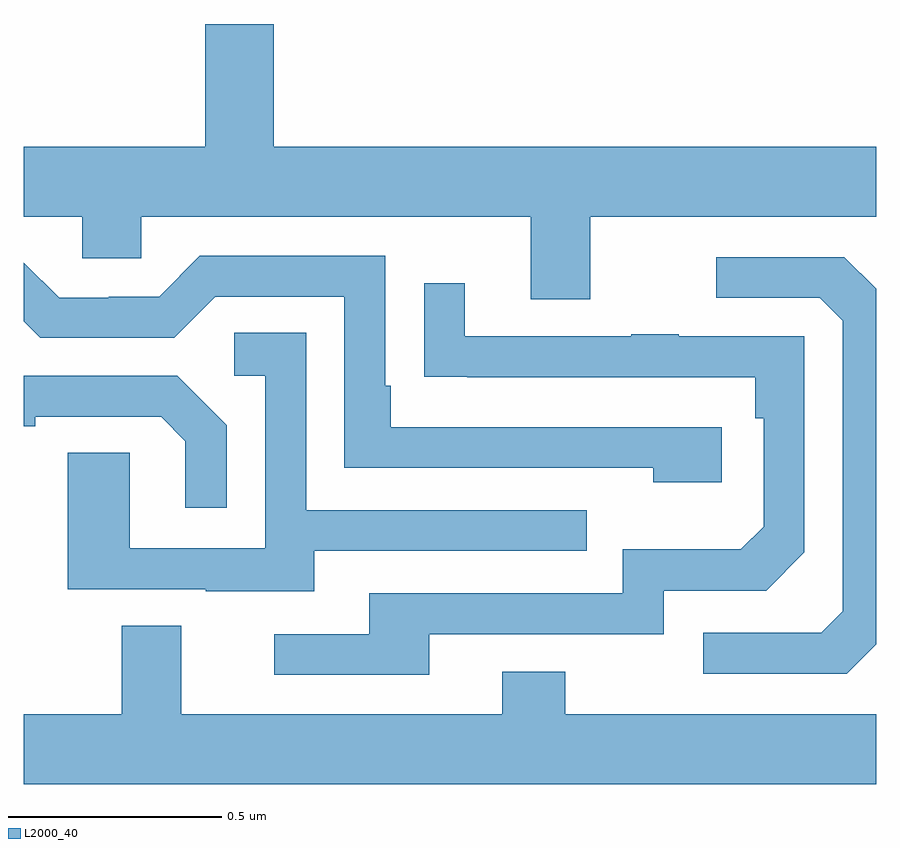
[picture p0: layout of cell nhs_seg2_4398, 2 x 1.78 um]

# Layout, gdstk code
import gdstk
lib = gdstk.Library(unit=1e-6, precision=1e-09)
def P(c, l, *ps):  # polygons
    for p in ps: c.add(gdstk.Polygon(p, *l))
L2000_40 = (2000, 40)

nhs_seg2_4398 = lib.new_cell('nhs_seg2_4398')
P(nhs_seg2_4398, L2000_40, [(167.329,602.348),(168,602.348),(168,602.512),(166.586,602.512),(166.586,602.8),(166.426,602.8),(166.426,602.512),(166,602.512),(166,602.348),(166.137,602.348),(166.137,602.25),(166.275,602.25),(166.275,602.348),(167.189,602.348),(167.189,602.154),(167.329,602.154)],
  [(167.638,601.854),(166.861,601.854),(166.861,601.951),(166.848,601.951),(166.848,602.256),(166.413,602.256),(166.317,602.16),(166.199,602.16),(166.199,602.157),(166.083,602.157),(166,602.24),(166,602.102),(166.038,602.064),(166.353,602.064),(166.449,602.16),(166.752,602.16),(166.752,601.758),(167.477,601.758),(167.477,601.724),(167.638,601.724)],
  [(168,601.344),(168,602.178),(167.925,602.253),(167.625,602.253),(167.625,602.157),(167.868,602.157),(167.922,602.103),(167.922,601.422),(167.871,601.371),(167.595,601.371),(167.595,601.275),(167.931,601.275)],
  [(166.951,601.368),(167.502,601.368),(167.502,601.47),(167.742,601.47),(167.832,601.56),(167.832,602.067),(167.537,602.067),(167.537,602.072),(167.425,602.072),(167.425,602.067),(167.035,602.067),(167.035,602.191),(166.939,602.191),(166.939,601.972),(167.041,601.972),(167.041,601.971),(167.716,601.971),(167.716,601.874),(167.736,601.874),(167.736,601.62),(167.683,601.567),(167.406,601.567),(167.406,601.464),(166.811,601.464),(166.811,601.368),(166.587,601.368),(166.587,601.272),(166.951,601.272)],
  [(166.681,601.563),(167.321,601.563),(167.321,601.659),(166.662,601.659),(166.662,602.075),(166.494,602.075),(166.494,601.974),(166.566,601.974),(166.566,601.569),(166.248,601.569),(166.248,601.793),(166.103,601.793),(166.103,601.473),(166.427,601.473),(166.427,601.469),(166.681,601.469)],
  [(166.476,601.858),(166.36,601.974),(166,601.974),(166,601.856),(166.027,601.856),(166.027,601.878),(166.322,601.878),(166.379,601.821),(166.379,601.665),(166.476,601.665)],
  [(168,601.18),(167.271,601.18),(167.271,601.279),(167.123,601.279),(167.123,601.18),(166.369,601.18),(166.369,601.388),(166.229,601.388),(166.229,601.18),(166,601.18),(166,601.016),(168,601.016)])

lib.write_gds('nhs_seg2_4398.gds')
